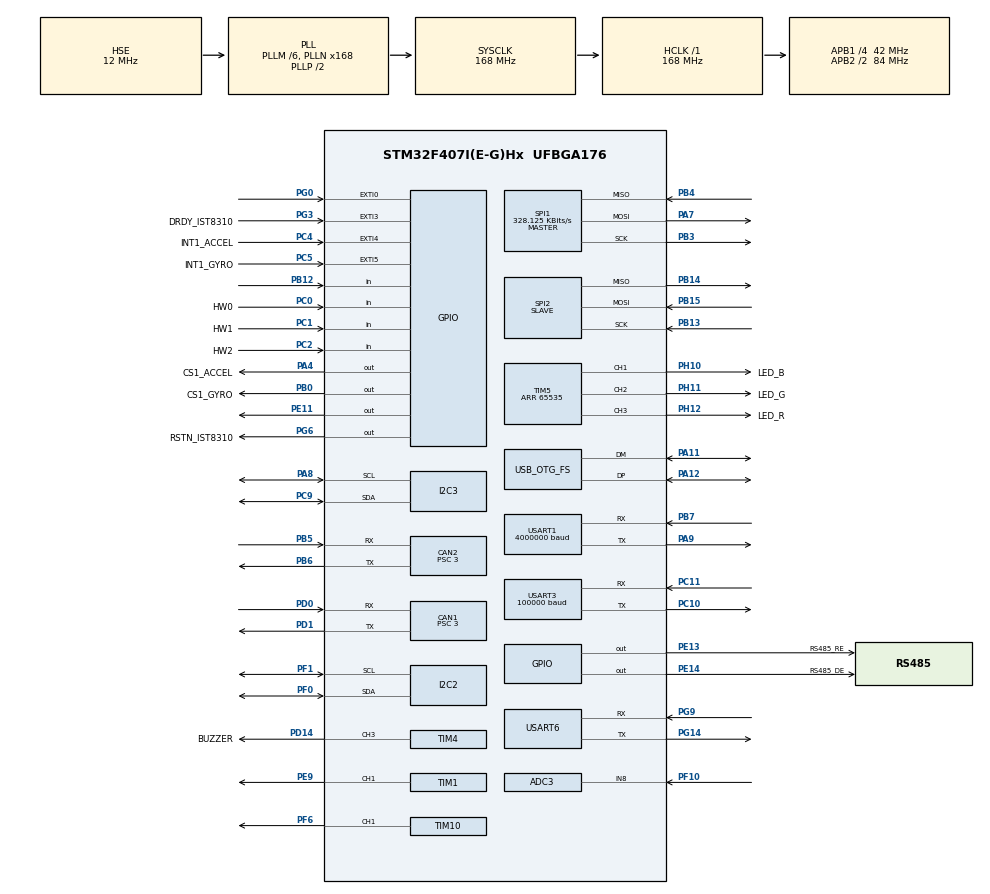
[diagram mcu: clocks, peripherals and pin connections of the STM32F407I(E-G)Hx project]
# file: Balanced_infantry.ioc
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ADC1.Channel-0\#ChannelRegularConversion=ADC_CHANNEL_TEMPSENSOR
ADC1.ClockPrescaler=ADC_CLOCK_SYNC_PCLK_DIV6
ADC1.NbrOfConversionFlag=1
ADC1.Rank-0\#ChannelRegularConversion=1
ADC1.SamplingTime-0\#ChannelRegularConversion=ADC_SAMPLETIME_3CYCLES
ADC1.master=1
ADC3.Channel-0\#ChannelRegularConversion=ADC_CHANNEL_8
ADC3.ClockPrescaler=ADC_CLOCK_SYNC_PCLK_DIV6
ADC3.NbrOfConversionFlag=1
ADC3.Rank-0\#ChannelRegularConversion=1
ADC3.SamplingTime-0\#ChannelRegularConversion=ADC_SAMPLETIME_3CYCLES
CAN1.ABOM=ENABLE
CAN1.BS1=CAN_BS1_10TQ
CAN1.BS2=CAN_BS2_3TQ
CAN1.CalculateBaudRate=1000000
CAN1.CalculateTimeBit=1000
CAN1.CalculateTimeQuantum=71.42857142857143
CAN1.Prescaler=3
CAN2.ABOM=ENABLE
CAN2.BS1=CAN_BS1_10TQ
CAN2.BS2=CAN_BS2_3TQ
CAN2.CalculateBaudRate=1000000
CAN2.CalculateTimeBit=1000
CAN2.CalculateTimeQuantum=71.42857142857143
CAN2.Prescaler=3
Dma.Request0=USART3_RX
Dma.Request1=SPI1_RX
Dma.Request2=SPI1_TX
Dma.Request3=USART1_RX
Dma.Request4=USART1_TX
Dma.Request5=USART6_RX
Dma.SPI1_RX.1.Direction=DMA_PERIPH_TO_MEMORY
Dma.SPI1_RX.1.FIFOMode=DMA_FIFOMODE_DISABLE
Dma.SPI1_RX.1.Instance=DMA2_Stream2
Dma.SPI1_RX.1.MemDataAlignment=DMA_MDATAALIGN_BYTE
Dma.SPI1_RX.1.MemInc=DMA_MINC_ENABLE
Dma.SPI1_RX.1.Mode=DMA_NORMAL
Dma.SPI1_RX.1.PeriphDataAlignment=DMA_PDATAALIGN_BYTE
Dma.SPI1_RX.1.PeriphInc=DMA_PINC_DISABLE
Dma.SPI1_RX.1.Priority=DMA_PRIORITY_VERY_HIGH
Dma.SPI1_TX.2.Direction=DMA_MEMORY_TO_PERIPH
Dma.SPI1_TX.2.FIFOMode=DMA_FIFOMODE_DISABLE
Dma.SPI1_TX.2.Instance=DMA2_Stream3
Dma.SPI1_TX.2.MemDataAlignment=DMA_MDATAALIGN_BYTE
Dma.SPI1_TX.2.MemInc=DMA_MINC_ENABLE
Dma.SPI1_TX.2.Mode=DMA_NORMAL
Dma.SPI1_TX.2.PeriphDataAlignment=DMA_PDATAALIGN_BYTE
Dma.SPI1_TX.2.PeriphInc=DMA_PINC_DISABLE
Dma.SPI1_TX.2.Priority=DMA_PRIORITY_HIGH
Dma.USART1_RX.3.Direction=DMA_PERIPH_TO_MEMORY
Dma.USART1_RX.3.FIFOMode=DMA_FIFOMODE_DISABLE
Dma.USART1_RX.3.Instance=DMA2_Stream5
Dma.USART1_RX.3.MemDataAlignment=DMA_MDATAALIGN_BYTE
Dma.USART1_RX.3.MemInc=DMA_MINC_ENABLE
Dma.USART1_RX.3.Mode=DMA_NORMAL
Dma.USART1_RX.3.PeriphDataAlignment=DMA_PDATAALIGN_BYTE
Dma.USART1_RX.3.PeriphInc=DMA_PINC_DISABLE
Dma.USART1_RX.3.Priority=DMA_PRIORITY_LOW
Dma.USART1_TX.4.Direction=DMA_MEMORY_TO_PERIPH
Dma.USART1_TX.4.FIFOMode=DMA_FIFOMODE_DISABLE
Dma.USART1_TX.4.Instance=DMA2_Stream7
Dma.USART1_TX.4.MemDataAlignment=DMA_MDATAALIGN_BYTE
Dma.USART1_TX.4.MemInc=DMA_MINC_ENABLE
Dma.USART1_TX.4.Mode=DMA_NORMAL
Dma.USART1_TX.4.PeriphDataAlignment=DMA_PDATAALIGN_BYTE
Dma.USART1_TX.4.PeriphInc=DMA_PINC_DISABLE
Dma.USART1_TX.4.Priority=DMA_PRIORITY_LOW
Dma.USART3_RX.0.Direction=DMA_PERIPH_TO_MEMORY
Dma.USART3_RX.0.FIFOMode=DMA_FIFOMODE_DISABLE
Dma.USART3_RX.0.Instance=DMA1_Stream1
Dma.USART3_RX.0.MemDataAlignment=DMA_MDATAALIGN_BYTE
Dma.USART3_RX.0.MemInc=DMA_MINC_ENABLE
Dma.USART3_RX.0.Mode=DMA_CIRCULAR
Dma.USART3_RX.0.PeriphDataAlignment=DMA_PDATAALIGN_BYTE
Dma.USART3_RX.0.PeriphInc=DMA_PINC_DISABLE
Dma.USART3_RX.0.Priority=DMA_PRIORITY_VERY_HIGH
Dma.USART6_RX.5.Direction=DMA_PERIPH_TO_MEMORY
Dma.USART6_RX.5.FIFOMode=DMA_FIFOMODE_DISABLE
Dma.USART6_RX.5.Instance=DMA2_Stream1
Dma.USART6_RX.5.MemDataAlignment=DMA_MDATAALIGN_BYTE
Dma.USART6_RX.5.MemInc=DMA_MINC_ENABLE
Dma.USART6_RX.5.Mode=DMA_NORMAL
Dma.USART6_RX.5.PeriphDataAlignment=DMA_PDATAALIGN_BYTE
Dma.USART6_RX.5.PeriphInc=DMA_PINC_DISABLE
Dma.USART6_RX.5.Priority=DMA_PRIORITY_VERY_HIGH
FREERTOS.INCLUDE_vTaskDelayUntil=1
FREERTOS.INCLUDE_xTaskGetHandle=1
FREERTOS.Tasks01=defaultTask,0,128,StartDefaultTask,Default,NULL,Dynamic,NULL,NULL
FREERTOS.configTOTAL_HEAP_SIZE=15360
I2C2.I2C_Mode=I2C_Fast
I2C3.I2C_Mode=I2C_Fast
Mcu.Family=STM32F4
Mcu.Name=STM32F407I(E-G)Hx
Mcu.Package=UFBGA176
NVIC.CAN1_RX0_IRQn=true\:6\:0\:true\:false\:true\:true\:true\:true\:true
NVIC.CAN2_RX0_IRQn=true\:5\:0\:false\:false\:true\:true\:true\:true\:true
NVIC.DMA1_Stream1_IRQn=true\:5\:0\:false\:false\:true\:true\:false\:true\:true
NVIC.DMA2_Stream1_IRQn=true\:5\:0\:false\:false\:true\:true\:false\:true\:true
NVIC.DMA2_Stream2_IRQn=true\:5\:0\:false\:false\:false\:false\:false\:true\:true
NVIC.DMA2_Stream3_IRQn=true\:5\:0\:false\:false\:true\:true\:false\:true\:true
NVIC.DMA2_Stream5_IRQn=true\:5\:0\:false\:false\:true\:true\:false\:true\:true
NVIC.DMA2_Stream7_IRQn=true\:5\:0\:false\:false\:true\:true\:false\:true\:true
NVIC.EXTI0_IRQn=true\:6\:0\:true\:false\:true\:true\:true\:true\:true
NVIC.EXTI3_IRQn=true\:5\:0\:false\:false\:true\:true\:true\:true\:true
NVIC.EXTI4_IRQn=true\:5\:0\:false\:false\:true\:true\:true\:true\:true
NVIC.EXTI9_5_IRQn=true\:5\:0\:false\:false\:true\:true\:true\:true\:true
NVIC.OTG_FS_IRQn=true\:5\:0\:false\:false\:true\:true\:false\:true\:true
NVIC.PriorityGroup=NVIC_PRIORITYGROUP_4
NVIC.TIM7_IRQn=true\:15\:0\:false\:false\:true\:false\:false\:true\:true
NVIC.TimeBase=TIM7_IRQn
NVIC.TimeBaseIP=TIM7
NVIC.USART1_IRQn=true\:5\:0\:false\:false\:false\:true\:true\:true\:true
NVIC.USART3_IRQn=true\:5\:0\:false\:false\:false\:true\:true\:true\:true
NVIC.USART6_IRQn=true\:5\:0\:false\:false\:true\:true\:true\:true\:true
PA11.Mode=Device_Only
PA11.Signal=USB_OTG_FS_DM
PA12.Mode=Device_Only
PA12.Signal=USB_OTG_FS_DP
PA13.Mode=Serial_Wire
PA13.Signal=SYS_JTMS-SWDIO
PA14.Mode=Serial_Wire
PA14.Signal=SYS_JTCK-SWCLK
PA4.GPIO_Label=CS1_ACCEL
PA4.GPIO_PuPd=GPIO_PULLUP
PA4.GPIO_Speed=GPIO_SPEED_FREQ_HIGH
PA4.PinState=GPIO_PIN_SET
PA4.Signal=GPIO_Output
PA7.GPIO_PuPd=GPIO_PULLUP
PA7.Mode=Full_Duplex_Master
PA7.Signal=SPI1_MOSI
PA8.Mode=I2C
PA8.Signal=I2C3_SCL
PA9.Mode=Asynchronous
PA9.Signal=USART1_TX
PB0.GPIO_Label=CS1_GYRO
PB0.GPIO_PuPd=GPIO_PULLUP
PB0.GPIO_Speed=GPIO_SPEED_FREQ_HIGH
PB0.PinState=GPIO_PIN_SET
PB0.Signal=GPIO_Output
PB12.GPIO_PuPd=GPIO_PULLUP
PB12.Signal=GPIO_Input
PB13.GPIO_PuPd=GPIO_PULLUP
PB13.Mode=Full_Duplex_Slave
PB13.Signal=SPI2_SCK
PB14.GPIO_PuPd=GPIO_PULLUP
PB14.Mode=Full_Duplex_Slave
PB14.Signal=SPI2_MISO
PB15.GPIO_PuPd=GPIO_PULLUP
PB15.Mode=Full_Duplex_Slave
PB15.Signal=SPI2_MOSI
PB3.GPIO_PuPd=GPIO_PULLUP
PB3.Mode=Full_Duplex_Master
PB3.Signal=SPI1_SCK
PB4.GPIO_PuPd=GPIO_PULLUP
PB4.Mode=Full_Duplex_Master
PB4.Signal=SPI1_MISO
PB5.Mode=CAN_Activate
PB5.Signal=CAN2_RX
PB6.Mode=CAN_Activate
PB6.Signal=CAN2_TX
PB7.Mode=Asynchronous
PB7.Signal=USART1_RX
PC0.GPIO_Label=HW0
PC0.Signal=GPIO_Input
PC1.GPIO_Label=HW1
PC1.Signal=GPIO_Input
PC10.Mode=Asynchronous
PC10.Signal=USART3_TX
PC11.Mode=Asynchronous
PC11.Signal=USART3_RX
PC2.GPIO_Label=HW2
PC2.Signal=GPIO_Input
PC4.GPIO_Label=INT1_ACCEL
PC4.GPIO_ModeDefaultEXTI=GPIO_MODE_IT_FALLING
PC4.GPIO_PuPd=GPIO_PULLUP
PC4.Signal=GPXTI4
PC5.GPIO_Label=INT1_GYRO
PC5.GPIO_ModeDefaultEXTI=GPIO_MODE_IT_FALLING
PC5.GPIO_PuPd=GPIO_PULLUP
PC5.Signal=GPXTI5
PC9.Mode=I2C
PC9.Signal=I2C3_SDA
PD0.Mode=CAN_Activate
PD0.Signal=CAN1_RX
PD1.Mode=CAN_Activate
PD1.Signal=CAN1_TX
PD14.GPIO_Label=BUZZER
PD14.GPIO_PuPd=GPIO_PULLUP
PD14.GPIO_Speed=GPIO_SPEED_FREQ_VERY_HIGH
PD14.Signal=S_TIM4_CH3
PE11.GPIO_Speed=GPIO_SPEED_FREQ_VERY_HIGH
PE11.Signal=GPIO_Output
PE13.GPIO_Label=RS485_RE
PE13.GPIO_Speed=GPIO_SPEED_FREQ_VERY_HIGH
PE13.Signal=GPIO_Output
PE14.GPIO_Label=RS485_DE
PE14.GPIO_Speed=GPIO_SPEED_FREQ_VERY_HIGH
PE14.Signal=GPIO_Output
PE9.Signal=S_TIM1_CH1
PF0.GPIO_Pu=GPIO_PULLUP
PF0.Mode=I2C
PF0.Signal=I2C2_SDA
PF1.GPIO_Pu=GPIO_PULLUP
PF1.Mode=I2C
PF1.Signal=I2C2_SCL
PF10.Mode=IN8
PF10.Signal=ADC3_IN8
PF6.GPIO_PuPd=GPIO_PULLUP
PF6.GPIO_Speed=GPIO_SPEED_FREQ_HIGH
PF6.Signal=S_TIM10_CH1
PG0.GPIO_PuPd=GPIO_PULLUP
PG0.Signal=GPXTI0
PG14.Mode=Asynchronous
PG14.Signal=USART6_TX
PG3.GPIO_Label=DRDY_IST8310
PG3.GPIO_PuPd=GPIO_PULLUP
PG3.Signal=GPXTI3
PG6.GPIO_Label=RSTN_IST8310
PG6.GPIO_PuPd=GPIO_PULLUP
PG6.GPIO_Speed=GPIO_SPEED_FREQ_MEDIUM
PG6.PinState=GPIO_PIN_SET
PG6.Signal=GPIO_Output
PG9.Mode=Asynchronous
PG9.Signal=USART6_RX
PH0-OSC_IN.Mode=HSE-External-Oscillator
PH0-OSC_IN.Signal=RCC_OSC_IN
PH1-OSC_OUT.Mode=HSE-External-Oscillator
PH1-OSC_OUT.Signal=RCC_OSC_OUT
PH10.GPIO_Label=LED_B
PH10.GPIO_PuPd=GPIO_PULLUP
PH10.GPIO_Speed=GPIO_SPEED_FREQ_HIGH
PH10.Signal=S_TIM5_CH1
PH11.GPIO_Label=LED_G
PH11.GPIO_PuPd=GPIO_PULLUP
PH11.GPIO_Speed=GPIO_SPEED_FREQ_HIGH
PH11.Signal=S_TIM5_CH2
PH12.GPIO_Label=LED_R
PH12.GPIO_PuPd=GPIO_PULLUP
PH12.GPIO_Speed=GPIO_SPEED_FREQ_HIGH
PH12.Signal=S_TIM5_CH3
ProjectManager.HeapSize=0x200
ProjectManager.StackSize=0x400
ProjectManager.TargetToolchain=MDK-ARM V5
RCC.48MHZClocksFreq_Value=48000000
RCC.AHBFreq_Value=168000000
RCC.APB1CLKDivider=RCC_HCLK_DIV4
RCC.APB1Freq_Value=42000000
RCC.APB1TimFreq_Value=84000000
RCC.APB2CLKDivider=RCC_HCLK_DIV2
RCC.APB2Freq_Value=84000000
RCC.APB2TimFreq_Value=168000000
RCC.CortexFreq_Value=168000000
RCC.HCLKFreq_Value=168000000
RCC.HSE_VALUE=12000000
RCC.HSI_VALUE=16000000
RCC.LSE_VALUE=32768
RCC.PLLM=6
RCC.PLLN=168
RCC.PLLQ=7
RCC.SYSCLKFreq_VALUE=168000000
RCC.SYSCLKSource=RCC_SYSCLKSOURCE_PLLCLK
RCC.VCOOutputFreq_Value=336000000
RTC.AsynchPrediv=124
SH.S_TIM10_CH1.0=TIM10_CH1,PWM Generation1 CH1
SH.S_TIM1_CH1.0=TIM1_CH1,PWM Generation1 CH1
SH.S_TIM4_CH3.0=TIM4_CH3,PWM Generation3 CH3
SH.S_TIM5_CH1.0=TIM5_CH1,PWM Generation1 CH1
SH.S_TIM5_CH2.0=TIM5_CH2,PWM Generation2 CH2
SH.S_TIM5_CH3.0=TIM5_CH3,PWM Generation3 CH3
SPI1.BaudRatePrescaler=SPI_BAUDRATEPRESCALER_256
SPI1.CLKPhase=SPI_PHASE_2EDGE
SPI1.CLKPolarity=SPI_POLARITY_HIGH
SPI1.CalculateBaudRate=328.125 KBits/s
SPI1.Direction=SPI_DIRECTION_2LINES
SPI1.Mode=SPI_MODE_MASTER
SPI1.VirtualType=VM_MASTER
SPI2.CLKPhase=SPI_PHASE_2EDGE
SPI2.CLKPolarity=SPI_POLARITY_HIGH
SPI2.Direction=SPI_DIRECTION_2LINES
SPI2.Mode=SPI_MODE_SLAVE
SPI2.VirtualType=VM_SLAVE
TIM1.AutoReloadPreload=TIM_AUTORELOAD_PRELOAD_ENABLE
TIM1.Channel-PWM\ Generation1\ CH1=TIM_CHANNEL_1
TIM1.Period=19999
TIM1.Prescaler=167
TIM1.Pulse-PWM\ Generation1\ CH1=5000
TIM10.Channel=TIM_CHANNEL_1
TIM10.Period=4999
TIM2.Period=65535
TIM2.Prescaler=83
TIM4.Channel-PWM\ Generation3\ CH3=TIM_CHANNEL_3
TIM4.Period=20999
TIM4.Prescaler=0
TIM5.Channel-PWM\ Generation1\ CH1=TIM_CHANNEL_1
TIM5.Channel-PWM\ Generation2\ CH2=TIM_CHANNEL_2
TIM5.Channel-PWM\ Generation3\ CH3=TIM_CHANNEL_3
TIM5.Period=65535
USART1.BaudRate=4000000
USART1.VirtualMode=VM_ASYNC
USART3.BaudRate=100000
USART3.Parity=PARITY_EVEN
USART3.VirtualMode=VM_ASYNC
USART3.WordLength=WORDLENGTH_9B
USART6.VirtualMode=VM_ASYNC
USB_DEVICE.CLASS_NAME_FS=CDC
USB_DEVICE.VirtualMode-CDC_FS=Cdc
USB_DEVICE.VirtualModeFS=Cdc_FS
USB_OTG_FS.VirtualMode=Device_Only
VP_ADC1_TempSens_Input.Mode=IN-TempSens
VP_FREERTOS_VS_CMSIS_V1.Mode=CMSIS_V1
VP_RTC_VS_RTC_Activate.Mode=RTC_Enabled
VP_SYS_VS_tim7.Mode=TIM7
VP_TIM10_VS_ClockSourceINT.Mode=Enable_Timer
VP_TIM1_VS_ClockSourceINT.Mode=Internal
VP_TIM2_VS_ClockSourceINT.Mode=Internal
VP_TIM4_VS_ClockSourceINT.Mode=Internal
VP_TIM5_VS_ClockSourceINT.Mode=Internal
VP_USB_DEVICE_VS_USB_DEVICE_CDC_FS.Mode=CDC_FS
board=custom

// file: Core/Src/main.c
/* USER CODE BEGIN Header */
/**
  ******************************************************************************
  * @file           : main.c
  * @brief          : Main program body
  ******************************************************************************
  * @attention
  *
  * Copyright (c) 2023 STMicroelectronics.
  * All rights reserved.
  *
  * This software is licensed under terms that can be found in the LICENSE file
  * in the root directory of this software component.
  * If no LICENSE file comes with this software, it is provided AS-IS.
  *
  ******************************************************************************
  */
/* USER CODE END Header */
#include "main.h"
#include "cmsis_os.h"
#include "adc.h"
#include "can.h"
#include "dma.h"
#include "i2c.h"
#include "rtc.h"
#include "spi.h"
#include "tim.h"
#include "usart.h"
#include "usb_device.h"
#include "gpio.h"

/* USER CODE BEGIN Includes */

//imu
#include "bsp_dwt.h"
#include "BMI088driver.h"

#include "bsp_can.h"
//test
#include "can_receive.h"
#include "remote_control.h"

/* USER CODE END Includes */

void SystemClock_Config(void);
void MX_FREERTOS_Init(void);

int main(void)
{

  /* MCU Configuration--------------------------------------------------------*/

  /* Reset of all peripherals, Initializes the Flash interface and the Systick. */
  HAL_Init();

  /* Configure the system clock */
  SystemClock_Config();

  /* Initialize all configured peripherals */
  MX_GPIO_Init();
  MX_TIM1_Init();
  MX_DMA_Init();
  MX_USART3_UART_Init();
  MX_TIM5_Init();
  MX_SPI1_Init();
  MX_CAN1_Init();
  MX_CAN2_Init();
  MX_TIM10_Init();
  MX_I2C3_Init();
  MX_SPI2_Init();
  MX_ADC1_Init();
  MX_ADC3_Init();
  MX_RTC_Init();
  MX_TIM4_Init();
  MX_I2C2_Init();
  MX_TIM2_Init();
  MX_USART1_UART_Init();
  MX_USART6_UART_Init();
  /* USER CODE BEGIN 2 */
	remote_control_init();
  DWT_Init(168);
    while (BMI088_init(&hspi1, 1) != BMI088_NO_ERROR)
        ;
	can_filter_init();

	HAL_TIM_PWM_Start(&htim5,TIM_CHANNEL_1);
	HAL_TIM_PWM_Start(&htim5,TIM_CHANNEL_2);
	HAL_TIM_PWM_Start(&htim5,TIM_CHANNEL_3);

  /* USER CODE END 2 */

  /* Call init function for freertos objects (in freertos.c) */
  MX_FREERTOS_Init();

  /* Start scheduler */
  osKernelStart();

  /* We should never get here as control is now taken by the scheduler */
  /* Infinite loop */
  while (1)
  {

  }
}

void SystemClock_Config(void)
{
  RCC_OscInitTypeDef RCC_OscInitStruct = {0};
  RCC_ClkInitTypeDef RCC_ClkInitStruct = {0};

  /** Configure the main internal regulator output voltage
  */
  __HAL_RCC_PWR_CLK_ENABLE();
  __HAL_PWR_VOLTAGESCALING_CONFIG(PWR_REGULATOR_VOLTAGE_SCALE1);

  /** Initializes the RCC Oscillators according to the specified parameters
  * in the RCC_OscInitTypeDef structure.
  */
  RCC_OscInitStruct.OscillatorType = RCC_OSCILLATORTYPE_LSI|RCC_OSCILLATORTYPE_HSE;
  RCC_OscInitStruct.HSEState = RCC_HSE_ON;
  RCC_OscInitStruct.LSIState = RCC_LSI_ON;
  RCC_OscInitStruct.PLL.PLLState = RCC_PLL_ON;
  RCC_OscInitStruct.PLL.PLLSource = RCC_PLLSOURCE_HSE;
  RCC_OscInitStruct.PLL.PLLM = 6;
  RCC_OscInitStruct.PLL.PLLN = 168;
  RCC_OscInitStruct.PLL.PLLP = RCC_PLLP_DIV2;
  RCC_OscInitStruct.PLL.PLLQ = 7;
  if (HAL_RCC_OscConfig(&RCC_OscInitStruct) != HAL_OK)
  {
    Error_Handler();
  }

  /** Initializes the CPU, AHB and APB buses clocks
  */
  RCC_ClkInitStruct.ClockType = RCC_CLOCKTYPE_HCLK|RCC_CLOCKTYPE_SYSCLK
                              |RCC_CLOCKTYPE_PCLK1|RCC_CLOCKTYPE_PCLK2;
  RCC_ClkInitStruct.SYSCLKSource = RCC_SYSCLKSOURCE_PLLCLK;
  RCC_ClkInitStruct.AHBCLKDivider = RCC_SYSCLK_DIV1;
  RCC_ClkInitStruct.APB1CLKDivider = RCC_HCLK_DIV4;
  RCC_ClkInitStruct.APB2CLKDivider = RCC_HCLK_DIV2;

  if (HAL_RCC_ClockConfig(&RCC_ClkInitStruct, FLASH_LATENCY_5) != HAL_OK)
  {
    Error_Handler();
  }
}

void HAL_TIM_PeriodElapsedCallback(TIM_HandleTypeDef *htim)
{
  if (htim->Instance == TIM7) {
    HAL_IncTick();
  }
}

void Error_Handler(void)
{
  __disable_irq();
  while (1)
  {
  }
}

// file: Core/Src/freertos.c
/* USER CODE BEGIN Header */
/**
  ******************************************************************************
  * File Name          : freertos.c
  * Description        : Code for freertos applications
  ******************************************************************************
  * @attention
  *
  * Copyright (c) 2023 STMicroelectronics.
  * All rights reserved.
  *
  * This software is licensed under terms that can be found in the LICENSE file
  * in the root directory of this software component.
  * If no LICENSE file comes with this software, it is provided AS-IS.
  *
  ******************************************************************************
  */
/* USER CODE END Header */

#include "FreeRTOS.h"
#include "task.h"
#include "main.h"
#include "cmsis_os.h"

/* USER CODE BEGIN Includes */

#include "ins_task.h"
#include "monitor_task.h"
#include "chassis_task.h"
//test
#include "can_receive.h"
#include "bsp_led.h"

/* USER CODE END Includes */

/* USER CODE BEGIN Variables */
osThreadId INSTaskHandle;
osThreadId LEDTaskHandle;
osThreadId chassisHandle;
osThreadId JumpTaskHandle;

/* USER CODE END Variables */
osThreadId defaultTaskHandle;

/* USER CODE BEGIN FunctionPrototypes */
void StartINSTask(void const * argument);

/* USER CODE END FunctionPrototypes */

void StartDefaultTask(void const * argument);

extern void MX_USB_DEVICE_Init(void);
void MX_FREERTOS_Init(void); /* (MISRA C 2004 rule 8.1) */

/* GetIdleTaskMemory prototype (linked to static allocation support) */
void vApplicationGetIdleTaskMemory( StaticTask_t **ppxIdleTaskTCBBuffer, StackType_t **ppxIdleTaskStackBuffer, uint32_t *pulIdleTaskStackSize );

/* USER CODE BEGIN GET_IDLE_TASK_MEMORY */
static StaticTask_t xIdleTaskTCBBuffer;
static StackType_t xIdleStack[configMINIMAL_STACK_SIZE];

void vApplicationGetIdleTaskMemory( StaticTask_t **ppxIdleTaskTCBBuffer, StackType_t **ppxIdleTaskStackBuffer, uint32_t *pulIdleTaskStackSize )
{
  *ppxIdleTaskTCBBuffer = &xIdleTaskTCBBuffer;
  *ppxIdleTaskStackBuffer = &xIdleStack[0];
  *pulIdleTaskStackSize = configMINIMAL_STACK_SIZE;
  /* place for user code */
}
/* USER CODE END GET_IDLE_TASK_MEMORY */

void MX_FREERTOS_Init(void) {

  /* Create the thread(s) */
  /* definition and creation of defaultTask */
  osThreadDef(defaultTask, StartDefaultTask, osPriorityNormal, 0, 128);
  defaultTaskHandle = osThreadCreate(osThread(defaultTask), NULL);

  /* USER CODE BEGIN RTOS_THREADS */
  /* add threads, ... */

  osThreadDef(INSTask, StartINSTask, osPriorityRealtime, 0, 512);
  INSTaskHandle = osThreadCreate(osThread(INSTask), NULL);

  osThreadDef(ledtTask, monitor_task, osPriorityNormal, 0, 128);
  LEDTaskHandle = osThreadCreate(osThread(ledtTask), NULL);

	osThreadDef(chassisTask, chassis_task, osPriorityAboveNormal, 0, 1024);
  chassisHandle = osThreadCreate(osThread(chassisTask), NULL);

	osThreadDef(JumpTask, chassis_jump_task, osPriorityNormal, 0, 128);
  JumpTaskHandle = osThreadCreate(osThread(JumpTask), NULL);
  /* USER CODE END RTOS_THREADS */

}

void StartDefaultTask(void const * argument)
{
  /* init code for USB_DEVICE */
  MX_USB_DEVICE_Init();
  /* USER CODE BEGIN StartDefaultTask */
  /* Infinite loop */
  for(;;)
  {
		//CAN_mf9025_cmd_chassis_Torque_control_2(0);
		//CAN_mf9025_cmd_chassis_Torque_control_1(0);

		//0xFFFF0000
  }
  /* USER CODE END StartDefaultTask */
}

/* USER CODE BEGIN Application */
void StartINSTask(void const * argument)
{
  /* USER CODE BEGIN StartINSTask */
    INS_Init();
    /* Infinite loop */
    for (;;)
    {
        INS_Task();
        osDelay(2);
    }
  /* USER CODE END StartINSTask */
}
/* USER CODE END Application */
